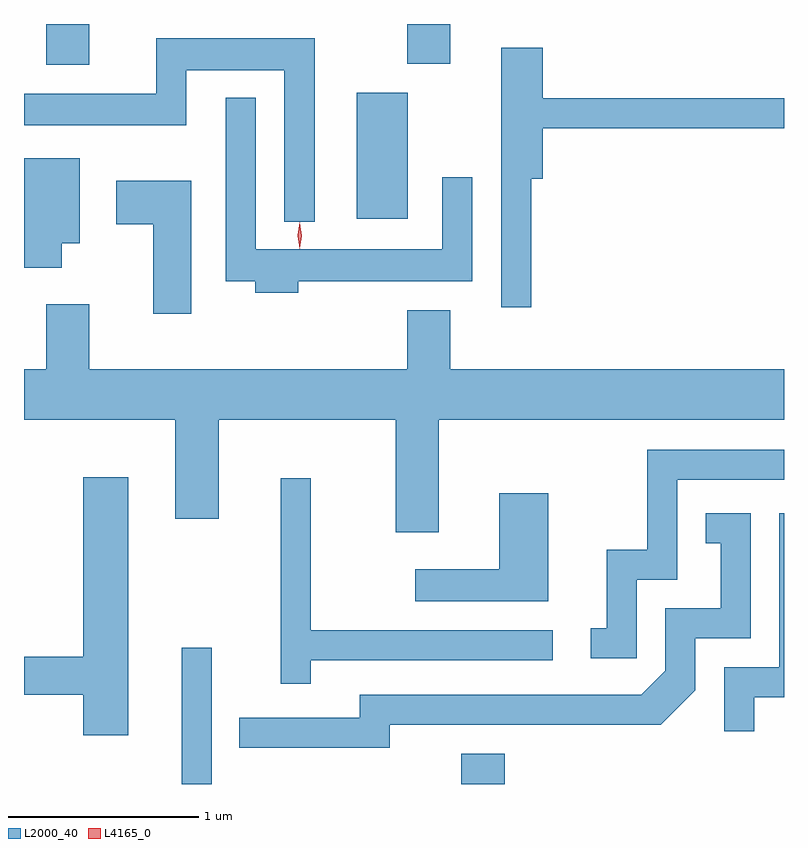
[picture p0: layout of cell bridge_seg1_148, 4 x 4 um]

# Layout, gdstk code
import gdstk
lib = gdstk.Library(unit=1e-6, precision=1e-09)
def R(c, l, rs):  # rectangles x0, y0, x1, y1
    for r in rs: c.add(gdstk.rectangle(r[:2], r[2:], *l))
def P(c, l, *ps):  # polygons
    for p in ps: c.add(gdstk.Polygon(p, *l))
L2000_40 = (2000, 40)
L4165_0 = (4165, 0)

bridge_seg1_148 = lib.new_cell('bridge_seg1_148')
R(bridge_seg1_148, L2000_40, [(900.316,959.82,900.474,960.538), (901.786,959.82,902.014,959.979), (901.236,962.796,901.504,963.459), (899.601,963.606,899.829,963.82), (901.501,963.611,901.729,963.82)])
P(bridge_seg1_148, L2000_40, [(901.014,963.744),(900.181,963.744),(900.181,963.454),(899.485,963.454),(899.485,963.286),(900.339,963.286),(900.339,963.576),(900.856,963.576),(900.856,962.778),(901.014,962.778)],
  [(902.154,963.006),(902.214,963.006),(902.214,963.271),(903.485,963.271),(903.485,963.429),(902.214,963.429),(902.214,963.694),(901.996,963.694),(901.996,962.328),(902.154,962.328)],
  [(900.929,962.466),(901.844,962.466),(901.844,963.013),(901.686,963.013),(901.686,962.634),(900.704,962.634),(900.704,963.433),(900.546,963.433),(900.546,962.466),(900.701,962.466),(900.701,962.406),(900.929,962.406)],
  [(899.684,962.666),(899.779,962.666),(899.779,963.114),(899.485,963.114),(899.485,962.536),(899.684,962.536)],
  [(900.364,962.994),(899.971,962.994),(899.971,962.766),(900.166,962.766),(900.166,962.296),(900.364,962.296)],
  [(901.669,961.736),(903.485,961.736),(903.485,962.004),(901.729,962.004),(901.729,962.314),(901.501,962.314),(901.501,962.004),(899.829,962.004),(899.829,962.344),(899.601,962.344),(899.601,962.004),(899.485,962.004),(899.485,961.736),(900.281,961.736),(900.281,961.216),(900.509,961.216),(900.509,961.736),(901.441,961.736),(901.441,961.146),(901.669,961.146)],
  [(902.709,960.896),(902.924,960.896),(902.924,961.421),(903.485,961.421),(903.485,961.579),(902.766,961.579),(902.766,961.054),(902.551,961.054),(902.551,960.639),(902.468,960.639),(902.468,960.481),(902.709,960.481)],
  [(900.034,961.434),(899.796,961.434),(899.796,960.489),(899.485,960.489),(899.485,960.291),(899.796,960.291),(899.796,960.076),(900.034,960.076)],
  [(900.994,960.471),(902.268,960.471),(902.268,960.629),(900.994,960.629),(900.994,961.428),(900.836,961.428),(900.836,960.348),(900.994,960.348)],
  [(902.244,961.349),(901.986,961.349),(901.986,960.949),(901.543,960.949),(901.543,960.781),(902.244,960.781)],
  [(903.329,960.276),(903.485,960.276),(903.485,961.244),(903.461,961.244),(903.461,960.434),(903.171,960.434),(903.171,960.098),(903.329,960.098)],
  [(901.409,960.131),(902.837,960.131),(903.019,960.314),(903.019,960.586),(903.309,960.586),(903.309,961.244),(903.073,961.244),(903.073,961.086),(903.151,961.086),(903.151,960.744),(902.861,960.744),(902.861,960.417),(902.734,960.289),(901.251,960.289),(901.251,960.169),(900.618,960.169),(900.618,960.011),(901.409,960.011)])
P(bridge_seg1_148, L4165_0, [(900.935,962.637),(900.926,962.707),(900.935,962.776),(900.936,962.776),(900.936,962.776),(900.945,962.707),(900.936,962.637),(900.936,962.637)],
  [(900.937,962.639),(900.936,962.64),(900.927,962.706),(900.936,962.772),(900.937,962.773),(900.937,962.772),(900.947,962.706),(900.937,962.64)])

lib.write_gds('bridge_seg1_148.gds')
